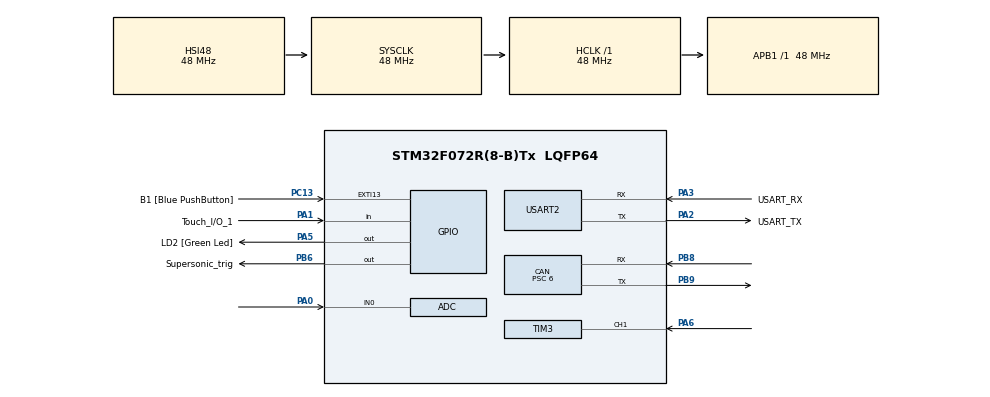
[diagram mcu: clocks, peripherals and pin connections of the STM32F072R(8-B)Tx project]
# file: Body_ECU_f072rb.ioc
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ADC.SamplingTime=ADC_SAMPLETIME_55CYCLES_5
CAN.BS1=CAN_BS1_13TQ
CAN.BS2=CAN_BS2_2TQ
CAN.CalculateBaudRate=500000
CAN.CalculateTimeBit=2000
CAN.CalculateTimeQuantum=125.0
CAN.Prescaler=6
Mcu.Family=STM32F0
Mcu.Name=STM32F072R(8-B)Tx
Mcu.Package=LQFP64
NVIC.EXTI4_15_IRQn=true\:0\:0\:false\:false\:true\:true\:true\:true
NVIC.TIM3_IRQn=true\:0\:0\:false\:false\:true\:true\:true\:true
NVIC.TIM6_DAC_IRQn=true\:0\:0\:false\:false\:true\:true\:true\:true
PA0.Mode=IN0
PA0.Signal=ADC_IN0
PA1.GPIO_Label=Touch_I/O_1
PA1.Signal=GPIO_Input
PA13.GPIO_Label=TMS
PA13.Mode=Serial_Wire
PA13.Signal=SYS_SWDIO
PA14.GPIO_Label=TCK
PA14.Mode=Serial_Wire
PA14.Signal=SYS_SWCLK
PA2.GPIO_Label=USART_TX
PA2.GPIO_Mode=GPIO_MODE_AF_PP
PA2.GPIO_PuPd=GPIO_NOPULL
PA2.GPIO_Speed=GPIO_SPEED_FREQ_LOW
PA2.Mode=Asynchronous
PA2.Signal=USART2_TX
PA3.GPIO_Label=USART_RX
PA3.GPIO_Mode=GPIO_MODE_AF_PP
PA3.GPIO_PuPd=GPIO_NOPULL
PA3.GPIO_Speed=GPIO_SPEED_FREQ_LOW
PA3.Mode=Asynchronous
PA3.Signal=USART2_RX
PA5.GPIO_Label=LD2 [Green Led]
PA5.GPIO_Mode=GPIO_MODE_OUTPUT_PP
PA5.GPIO_PuPd=GPIO_NOPULL
PA5.GPIO_Speed=GPIO_SPEED_FREQ_LOW
PA5.Signal=GPIO_Output
PA6.Signal=S_TIM3_CH1
PB6.GPIO_Label=Supersonic_trig
PB6.Signal=GPIO_Output
PB8.Mode=CAN_Activate
PB8.Signal=CAN_RX
PB9.Mode=CAN_Activate
PB9.Signal=CAN_TX
PC13.GPIO_Label=B1 [Blue PushButton]
PC13.GPIO_ModeDefaultEXTI=GPIO_MODE_IT_FALLING
PC13.Signal=GPXTI13
PC14-OSC32_IN.Mode=LSE-External-Oscillator
PC14-OSC32_IN.Signal=RCC_OSC32_IN
PC15-OSC32_OUT.Mode=LSE-External-Oscillator
PC15-OSC32_OUT.Signal=RCC_OSC32_OUT
PF0-OSC_IN.Mode=HSE-External-Clock-Source
PF0-OSC_IN.Signal=RCC_OSC_IN
PF1-OSC_OUT.Signal=RCC_OSC_OUT
ProjectManager.HeapSize=0x200
ProjectManager.StackSize=0x400
ProjectManager.TargetToolchain=STM32CubeIDE
RCC.AHBFreq_Value=48000000
RCC.APB1Freq_Value=48000000
RCC.APB1TimFreq_Value=48000000
RCC.FLatency-AdvancedSettings=FLASH_LATENCY_1
RCC.HCLKFreq_Value=48000000
RCC.PLLDivider=RCC_PREDIV_DIV2
RCC.PLLMUL=RCC_PLL_MUL12
RCC.PREFETCH_ENABLE-AdvancedSettings=1
RCC.SYSCLKFreq_VALUE=48000000
RCC.SYSCLKSource=RCC_SYSCLKSOURCE_HSI48
SH.S_TIM3_CH1.0=TIM3_CH1,Input_Capture1_from_TI1
TIM3.Channel-Input_Capture1_from_TI1=TIM_CHANNEL_1
TIM3.Prescaler=48-1
TIM6.Period=1000-1
TIM6.Prescaler=4800-1
USART2.VirtualMode=VM_ASYNC
USART2.VirtualMode-Asynchronous=VM_ASYNC
VP_TIM3_VS_ClockSourceINT.Mode=Internal
VP_TIM6_VS_ClockSourceINT.Mode=Enable_Timer
board=NUCLEO-F072RB

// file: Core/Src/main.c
/* USER CODE BEGIN Header */
/**
  ******************************************************************************
  * @file           : main.c
  * @brief          : Main program body
  ******************************************************************************
  * @attention
  *
  * Copyright (c) 2026 STMicroelectronics.
  * All rights reserved.
  *
  * This software is licensed under terms that can be found in the LICENSE file
  * in the root directory of this software component.
  * If no LICENSE file comes with this software, it is provided AS-IS.
  *
  ******************************************************************************
  */
/* USER CODE END Header */
#include "main.h"

/* USER CODE BEGIN Includes */
#include "sensor_ultrasonic.h"
#include "sensor_co2.h"
#include "sensor_touch.h"
#include "can_handler.h"

#include <stdio.h>
/* USER CODE END Includes */

ADC_HandleTypeDef hadc;

CAN_HandleTypeDef hcan;

TIM_HandleTypeDef htim3;
TIM_HandleTypeDef htim6;

UART_HandleTypeDef huart2;

void SystemClock_Config(void);
static void MX_GPIO_Init(void);
static void MX_ADC_Init(void);
static void MX_CAN_Init(void);
static void MX_TIM3_Init(void);
static void MX_TIM6_Init(void);
static void MX_USART2_UART_Init(void);

/* USER CODE BEGIN 0 */

// 인터럽트 콜백 통합 관리
void HAL_TIM_IC_CaptureCallback(TIM_HandleTypeDef *htim){
	Ultrasonic_Capture_Callback(htim);
}

// 마이크로초 지연 함수 (초음파센서 trigger 용)
void delay_us(uint16_t us){
	__HAL_TIM_SET_COUNTER(&htim3, 0);
	while (__HAL_TIM_GET_COUNTER(&htim3) < us);
}

// printf 호출 시 USART2로 데이터를 내보내도록 설정
int __io_putchar(int ch) {
    HAL_UART_Transmit(&huart2, (uint8_t *)&ch, 1, 0xFFFF);
    return ch;
}

uint8_t hands_off_counter = 0; // 0.1초마다 증가할 변수
/* USER CODE END 0 */

int main(void)
{

  /* MCU Configuration--------------------------------------------------------*/

  /* Reset of all peripherals, Initializes the Flash interface and the Systick. */
  HAL_Init();

  /* Configure the system clock */
  SystemClock_Config();

  /* Initialize all configured peripherals */
  MX_GPIO_Init();
  MX_ADC_Init();
  MX_CAN_Init();
  MX_TIM3_Init();
  MX_TIM6_Init();
  MX_USART2_UART_Init();
  /* USER CODE BEGIN 2 */
  CAN_Config_Filter();						  // CAN 시작 및 필터 설정
  HAL_TIM_IC_Start_IT(&htim3, TIM_CHANNEL_1); // 초음파 캡처 시작
//  HAL_TIM_Base_Start_IT(&htim6);			  // 0.1초 전송용 TIM6 시작

  // --- 캘리브레이션 단계 추가 ---
  HAL_Delay(3000);
  uint16_t avg_dist = Ultrasonic_Get_Avg_Distance();
  Ultrasonic_Set_Baseline(avg_dist);

  HAL_TIM_Base_Start_IT(&htim6);			  // 0.1초 전송용 TIM6 시작

  // 3초 후의 평균 거리를 기준점으로 설정
  uint16_t final_baseline = Ultrasonic_Get_Avg_Distance();
  Ultrasonic_Set_Baseline(final_baseline);

  printf("\r\nCalibration Done!\r\n");
  printf("Baseline Set to: %u cm\r\n", final_baseline);
  printf("Starting CAN Communication...\r\n");
  /* USER CODE END 2 */

  /* Infinite loop */
  while (1)
  {

  }
}

void SystemClock_Config(void)
{
  RCC_OscInitTypeDef RCC_OscInitStruct = {0};
  RCC_ClkInitTypeDef RCC_ClkInitStruct = {0};
  RCC_PeriphCLKInitTypeDef PeriphClkInit = {0};

  /** Initializes the RCC Oscillators according to the specified parameters
  * in the RCC_OscInitTypeDef structure.
  */
  RCC_OscInitStruct.OscillatorType = RCC_OSCILLATORTYPE_HSI14|RCC_OSCILLATORTYPE_HSI48;
  RCC_OscInitStruct.HSI48State = RCC_HSI48_ON;
  RCC_OscInitStruct.HSI14State = RCC_HSI14_ON;
  RCC_OscInitStruct.HSI14CalibrationValue = 16;
  RCC_OscInitStruct.PLL.PLLState = RCC_PLL_NONE;
  if (HAL_RCC_OscConfig(&RCC_OscInitStruct) != HAL_OK)
  {
    Error_Handler();
  }

  /** Initializes the CPU, AHB and APB buses clocks
  */
  RCC_ClkInitStruct.ClockType = RCC_CLOCKTYPE_HCLK|RCC_CLOCKTYPE_SYSCLK
                              |RCC_CLOCKTYPE_PCLK1;
  RCC_ClkInitStruct.SYSCLKSource = RCC_SYSCLKSOURCE_HSI48;
  RCC_ClkInitStruct.AHBCLKDivider = RCC_SYSCLK_DIV1;
  RCC_ClkInitStruct.APB1CLKDivider = RCC_HCLK_DIV1;

  if (HAL_RCC_ClockConfig(&RCC_ClkInitStruct, FLASH_LATENCY_1) != HAL_OK)
  {
    Error_Handler();
  }
  PeriphClkInit.PeriphClockSelection = RCC_PERIPHCLK_USART2;
  PeriphClkInit.Usart2ClockSelection = RCC_USART2CLKSOURCE_PCLK1;
  if (HAL_RCCEx_PeriphCLKConfig(&PeriphClkInit) != HAL_OK)
  {
    Error_Handler();
  }
}

static void MX_ADC_Init(void)
{

  ADC_ChannelConfTypeDef sConfig = {0};

  /** Configure the global features of the ADC (Clock, Resolution, Data Alignment and number of conversion)
  */
  hadc.Instance = ADC1;
  hadc.Init.ClockPrescaler = ADC_CLOCK_ASYNC_DIV1;
  hadc.Init.Resolution = ADC_RESOLUTION_12B;
  hadc.Init.DataAlign = ADC_DATAALIGN_RIGHT;
  hadc.Init.ScanConvMode = ADC_SCAN_DIRECTION_FORWARD;
  hadc.Init.EOCSelection = ADC_EOC_SINGLE_CONV;
  hadc.Init.LowPowerAutoWait = DISABLE;
  hadc.Init.LowPowerAutoPowerOff = DISABLE;
  hadc.Init.ContinuousConvMode = DISABLE;
  hadc.Init.DiscontinuousConvMode = DISABLE;
  hadc.Init.ExternalTrigConv = ADC_SOFTWARE_START;
  hadc.Init.ExternalTrigConvEdge = ADC_EXTERNALTRIGCONVEDGE_NONE;
  hadc.Init.DMAContinuousRequests = DISABLE;
  hadc.Init.Overrun = ADC_OVR_DATA_PRESERVED;
  if (HAL_ADC_Init(&hadc) != HAL_OK)
  {
    Error_Handler();
  }

  /** Configure for the selected ADC regular channel to be converted.
  */
  sConfig.Channel = ADC_CHANNEL_0;
  sConfig.Rank = ADC_RANK_CHANNEL_NUMBER;
  sConfig.SamplingTime = ADC_SAMPLETIME_55CYCLES_5;
  if (HAL_ADC_ConfigChannel(&hadc, &sConfig) != HAL_OK)
  {
    Error_Handler();
  }

}

static void MX_CAN_Init(void)
{

  hcan.Instance = CAN;
  hcan.Init.Prescaler = 6;
  hcan.Init.Mode = CAN_MODE_NORMAL;
  hcan.Init.SyncJumpWidth = CAN_SJW_1TQ;
  hcan.Init.TimeSeg1 = CAN_BS1_13TQ;
  hcan.Init.TimeSeg2 = CAN_BS2_2TQ;
  hcan.Init.TimeTriggeredMode = DISABLE;
  hcan.Init.AutoBusOff = DISABLE;
  hcan.Init.AutoWakeUp = DISABLE;
  hcan.Init.AutoRetransmission = DISABLE;
  hcan.Init.ReceiveFifoLocked = DISABLE;
  hcan.Init.TransmitFifoPriority = DISABLE;
  if (HAL_CAN_Init(&hcan) != HAL_OK)
  {
    Error_Handler();
  }

}

static void MX_TIM3_Init(void)
{

  TIM_ClockConfigTypeDef sClockSourceConfig = {0};
  TIM_MasterConfigTypeDef sMasterConfig = {0};
  TIM_IC_InitTypeDef sConfigIC = {0};

  htim3.Instance = TIM3;
  htim3.Init.Prescaler = 48-1;
  htim3.Init.CounterMode = TIM_COUNTERMODE_UP;
  htim3.Init.Period = 65535;
  htim3.Init.ClockDivision = TIM_CLOCKDIVISION_DIV1;
  htim3.Init.AutoReloadPreload = TIM_AUTORELOAD_PRELOAD_DISABLE;
  if (HAL_TIM_Base_Init(&htim3) != HAL_OK)
  {
    Error_Handler();
  }
  sClockSourceConfig.ClockSource = TIM_CLOCKSOURCE_INTERNAL;
  if (HAL_TIM_ConfigClockSource(&htim3, &sClockSourceConfig) != HAL_OK)
  {
    Error_Handler();
  }
  if (HAL_TIM_IC_Init(&htim3) != HAL_OK)
  {
    Error_Handler();
  }
  sMasterConfig.MasterOutputTrigger = TIM_TRGO_RESET;
  sMasterConfig.MasterSlaveMode = TIM_MASTERSLAVEMODE_DISABLE;
  if (HAL_TIMEx_MasterConfigSynchronization(&htim3, &sMasterConfig) != HAL_OK)
  {
    Error_Handler();
  }
  sConfigIC.ICPolarity = TIM_INPUTCHANNELPOLARITY_RISING;
  sConfigIC.ICSelection = TIM_ICSELECTION_DIRECTTI;
  sConfigIC.ICPrescaler = TIM_ICPSC_DIV1;
  sConfigIC.ICFilter = 0;
  if (HAL_TIM_IC_ConfigChannel(&htim3, &sConfigIC, TIM_CHANNEL_1) != HAL_OK)
  {
    Error_Handler();
  }

}

static void MX_TIM6_Init(void)
{

  TIM_MasterConfigTypeDef sMasterConfig = {0};

  htim6.Instance = TIM6;
  htim6.Init.Prescaler = 4800-1;
  htim6.Init.CounterMode = TIM_COUNTERMODE_UP;
  htim6.Init.Period = 1000-1;
  htim6.Init.AutoReloadPreload = TIM_AUTORELOAD_PRELOAD_DISABLE;
  if (HAL_TIM_Base_Init(&htim6) != HAL_OK)
  {
    Error_Handler();
  }
  sMasterConfig.MasterOutputTrigger = TIM_TRGO_RESET;
  sMasterConfig.MasterSlaveMode = TIM_MASTERSLAVEMODE_DISABLE;
  if (HAL_TIMEx_MasterConfigSynchronization(&htim6, &sMasterConfig) != HAL_OK)
  {
    Error_Handler();
  }

}

static void MX_USART2_UART_Init(void)
{

  huart2.Instance = USART2;
  huart2.Init.BaudRate = 38400;
  huart2.Init.WordLength = UART_WORDLENGTH_8B;
  huart2.Init.StopBits = UART_STOPBITS_1;
  huart2.Init.Parity = UART_PARITY_NONE;
  huart2.Init.Mode = UART_MODE_TX_RX;
  huart2.Init.HwFlowCtl = UART_HWCONTROL_NONE;
  huart2.Init.OverSampling = UART_OVERSAMPLING_16;
  huart2.Init.OneBitSampling = UART_ONE_BIT_SAMPLE_DISABLE;
  huart2.AdvancedInit.AdvFeatureInit = UART_ADVFEATURE_NO_INIT;
  if (HAL_UART_Init(&huart2) != HAL_OK)
  {
    Error_Handler();
  }

}

static void MX_GPIO_Init(void)
{
  GPIO_InitTypeDef GPIO_InitStruct = {0};

  /* GPIO Ports Clock Enable */
  __HAL_RCC_GPIOC_CLK_ENABLE();
  __HAL_RCC_GPIOF_CLK_ENABLE();
  __HAL_RCC_GPIOA_CLK_ENABLE();
  __HAL_RCC_GPIOB_CLK_ENABLE();

  /*Configure GPIO pin Output Level */
  HAL_GPIO_WritePin(LD2_GPIO_Port, LD2_Pin, GPIO_PIN_RESET);

  /*Configure GPIO pin Output Level */
  HAL_GPIO_WritePin(Supersonic_trig_GPIO_Port, Supersonic_trig_Pin, GPIO_PIN_RESET);

  /*Configure GPIO pin : B1_Pin */
  GPIO_InitStruct.Pin = B1_Pin;
  GPIO_InitStruct.Mode = GPIO_MODE_IT_FALLING;
  GPIO_InitStruct.Pull = GPIO_NOPULL;
  HAL_GPIO_Init(B1_GPIO_Port, &GPIO_InitStruct);

  /*Configure GPIO pin : Touch_I_O_1_Pin */
  GPIO_InitStruct.Pin = Touch_I_O_1_Pin;
  GPIO_InitStruct.Mode = GPIO_MODE_INPUT;
  GPIO_InitStruct.Pull = GPIO_NOPULL;
  HAL_GPIO_Init(Touch_I_O_1_GPIO_Port, &GPIO_InitStruct);

  /*Configure GPIO pin : LD2_Pin */
  GPIO_InitStruct.Pin = LD2_Pin;
  GPIO_InitStruct.Mode = GPIO_MODE_OUTPUT_PP;
  GPIO_InitStruct.Pull = GPIO_NOPULL;
  GPIO_InitStruct.Speed = GPIO_SPEED_FREQ_LOW;
  HAL_GPIO_Init(LD2_GPIO_Port, &GPIO_InitStruct);

  /*Configure GPIO pin : Supersonic_trig_Pin */
  GPIO_InitStruct.Pin = Supersonic_trig_Pin;
  GPIO_InitStruct.Mode = GPIO_MODE_OUTPUT_PP;
  GPIO_InitStruct.Pull = GPIO_NOPULL;
  GPIO_InitStruct.Speed = GPIO_SPEED_FREQ_LOW;
  HAL_GPIO_Init(Supersonic_trig_GPIO_Port, &GPIO_InitStruct);

  /* EXTI interrupt init*/
  HAL_NVIC_SetPriority(EXTI4_15_IRQn, 0, 0);
  HAL_NVIC_EnableIRQ(EXTI4_15_IRQn);

}

/* USER CODE BEGIN 4 */
void HAL_TIM_PeriodElapsedCallback(TIM_HandleTypeDef *htim) {
    if (htim->Instance == TIM6) {
        // 1. 센서 값 읽기
        int8_t delta = Ultrasonic_Get_Head_Delta();
        uint8_t touch = 1;
        hands_off_counter = 0;
        uint8_t raw_dist = (uint8_t)Ultrasonic_Get_Distance();

        // 2. 변경된 명세로 CAN 전송
        CAN_Tx_SensorData(delta, hands_off_counter, raw_dist, touch);

        // 4. (선택) 트리거 발생 - 초음파 센서 측정 시작
		Ultrasonic_Trigger();
    }
}
/* USER CODE END 4 */

void Error_Handler(void)
{
  __disable_irq();
  while (1)
  {
  }
}
